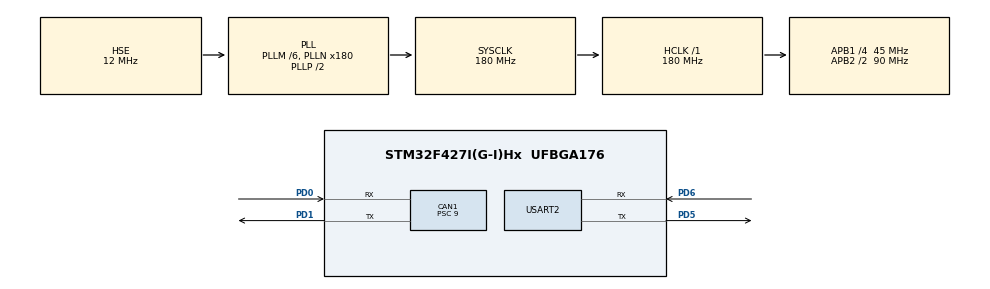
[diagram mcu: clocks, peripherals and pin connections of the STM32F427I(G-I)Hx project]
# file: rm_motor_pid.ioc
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CAN1.BS1=CAN_BS1_2TQ
CAN1.BS2=CAN_BS2_2TQ
CAN1.CalculateBaudRate=1000000
CAN1.CalculateTimeBit=1000
CAN1.CalculateTimeQuantum=200.0
CAN1.Prescaler=9
Mcu.Family=STM32F4
Mcu.Name=STM32F427I(G-I)Hx
Mcu.Package=UFBGA176
NVIC.CAN1_RX0_IRQn=true\:0\:0\:false\:false\:true\:true\:true\:true
NVIC.PriorityGroup=NVIC_PRIORITYGROUP_4
PA13.Mode=Serial_Wire
PA13.Signal=SYS_JTMS-SWDIO
PA14.Mode=Serial_Wire
PA14.Signal=SYS_JTCK-SWCLK
PD0.Mode=CAN_Activate
PD0.Signal=CAN1_RX
PD1.Mode=CAN_Activate
PD1.Signal=CAN1_TX
PD5.Mode=Asynchronous
PD5.Signal=USART2_TX
PD6.Mode=Asynchronous
PD6.Signal=USART2_RX
PH0/OSC_IN.Mode=HSE-External-Oscillator
PH0/OSC_IN.Signal=RCC_OSC_IN
PH1/OSC_OUT.Mode=HSE-External-Oscillator
PH1/OSC_OUT.Signal=RCC_OSC_OUT
ProjectManager.HeapSize=0x200
ProjectManager.StackSize=0x400
ProjectManager.TargetToolchain=MDK-ARM V5.32
RCC.48MHZClocksFreq_Value=90000000
RCC.AHBFreq_Value=180000000
RCC.APB1CLKDivider=RCC_HCLK_DIV4
RCC.APB1Freq_Value=45000000
RCC.APB1TimFreq_Value=90000000
RCC.APB2CLKDivider=RCC_HCLK_DIV2
RCC.APB2Freq_Value=90000000
RCC.APB2TimFreq_Value=180000000
RCC.CortexFreq_Value=180000000
RCC.HCLKFreq_Value=180000000
RCC.HSE_VALUE=12000000
RCC.HSI_VALUE=16000000
RCC.LSE_VALUE=32768
RCC.PLLM=6
RCC.PLLN=180
RCC.PLLSourceVirtual=RCC_PLLSOURCE_HSE
RCC.SYSCLKFreq_VALUE=180000000
RCC.SYSCLKSource=RCC_SYSCLKSOURCE_PLLCLK
RCC.VCOOutputFreq_Value=360000000
USART2.VirtualMode=VM_ASYNC
board=custom

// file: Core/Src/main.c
/* USER CODE BEGIN Header */
/**
  ******************************************************************************
  * @file           : main.c
  * @brief          : Main program body
  ******************************************************************************
  * @attention
  *
  * Copyright (c) 2026 STMicroelectronics.
  * All rights reserved.
  *
  * This software is licensed under terms that can be found in the LICENSE file
  * in the root directory of this software component.
  * If no LICENSE file comes with this software, it is provided AS-IS.
  *
  ******************************************************************************
  */
/* USER CODE END Header */
#include "main.h"
#include "can.h"
#include "usart.h"
#include "gpio.h"

/* USER CODE BEGIN Includes */
#include "bsp_can.h"
#include "pid.h"
#include "stdio.h"
/* USER CODE END Includes */

/* USER CODE BEGIN PM */
#define DJI_MOTOR_MAX_ECD 8192.0f
#define get_motor_measure(ptr, data)                                    \
    {                                                                   \
        (ptr)->last_ecd = (ptr)->ecd;                                   \
        (ptr)->ecd = (uint16_t)((data)[0] << 8 | (data)[1]);            \
        (ptr)->speed_rpm = (uint16_t)((data)[2] << 8 | (data)[3]);      \
        (ptr)->given_current = (uint16_t)((data)[4] << 8 | (data)[5]);  \
        (ptr)->temperate = (data)[6];                                   \
    }
/* USER CODE END PM */

/* USER CODE BEGIN PV */
float speed_out;
float pos_out;
//float targtr_motor_speed = 100;
float targtr_motor_pos = 4000;
/* USER CODE END PV */

void SystemClock_Config(void);

/* USER CODE BEGIN 0 */
float Get_DJI_Encoder_Err(float des, float now) //得到带编码器环绕处理的误差
{
	float Target = des;
	float current = now;
	float clockwise  = (Target >= current) ? (Target - current) : (DJI_MOTOR_MAX_ECD - current + Target);      //顺时针需要旋转的编码器值
	float counterclockwise= (current >= Target) ? (current - Target) : (DJI_MOTOR_MAX_ECD  - Target + current);//逆时针需要旋转的编码器值

	return (clockwise < counterclockwise) ? clockwise : -counterclockwise; //取最小值
}

void HAL_CAN_RxFifo0MsgPendingCallback(CAN_HandleTypeDef *hcan)
{
    CAN_RxHeaderTypeDef rx_header;
    uint8_t rx_data[8];

    HAL_CAN_GetRxMessage(hcan, CAN_RX_FIFO0, &rx_header, rx_data);
	uint8_t i =1;
	get_motor_measure(&motor_chassis[i], rx_data);

}

int fputc(int ch, FILE *f)

{

  HAL_UART_Transmit(&huart2, (uint8_t *)&ch, 1, 0xffff);

  return ch;

}
float a = 4000;
/* USER CODE END 0 */

int main(void)
{

  /* MCU Configuration--------------------------------------------------------*/

  /* Reset of all peripherals, Initializes the Flash interface and the Systick. */
  HAL_Init();

  /* Configure the system clock */
  SystemClock_Config();

	/* Initialize all configured peripherals */
	MX_GPIO_Init();
	MX_CAN1_Init();
	MX_USART2_UART_Init();
	/* USER CODE BEGIN 2 */
	can_filter_init();

	HAL_UART_Init(&huart2);

    PID_Init(&motor_speed,36.3,40.8,1.5,-5000,5000,-20000,20000);
     PID_Init(&motor_pos,0.5,0,0,-500,500,-10000,10000);
//     float target_position = 0;  // 目标角度
//	 float pos = motor_chassis[1].ecd/8192*360;
//	 float vel = motor_chassis[1].speed_rpm;

		 /* USER CODE END 2 */

  /* Infinite loop */
  /* USER CODE BEGIN WHILE */
  while (1)
{
	float pos_error = Get_DJI_Encoder_Err(targtr_motor_pos,motor_chassis[1].ecd);
	pos_out = -PID_Calculate(&motor_pos,0,pos_error);
//	pos_out = PID_Calculate(&motor_pos,a,motor_chassis[1].ecd);
	speed_out = PID_Calculate(&motor_speed,pos_out,motor_chassis[1].speed_rpm);
//	float speed = motor_chassis[1].speed_rpm;
	CAN_Send_Data(&hcan1,speed_out);
//	printf("%f,%f\n",speed,(float)targtr_motor_pos);
//		pos_out = PID_Calculate(&motor_pos,a,motor_chassis[1].ecd);
//	speed_out = PID_Calculate(&motor_speed,pos_out,motor_chassis[1].speed_rpm);
	HAL_Delay(2);
    /* USER CODE END WHILE */

  }
}

void SystemClock_Config(void)
{
  RCC_OscInitTypeDef RCC_OscInitStruct = {0};
  RCC_ClkInitTypeDef RCC_ClkInitStruct = {0};

  /** Configure the main internal regulator output voltage
  */
  __HAL_RCC_PWR_CLK_ENABLE();
  __HAL_PWR_VOLTAGESCALING_CONFIG(PWR_REGULATOR_VOLTAGE_SCALE1);

  /** Initializes the RCC Oscillators according to the specified parameters
  * in the RCC_OscInitTypeDef structure.
  */
  RCC_OscInitStruct.OscillatorType = RCC_OSCILLATORTYPE_HSE;
  RCC_OscInitStruct.HSEState = RCC_HSE_ON;
  RCC_OscInitStruct.PLL.PLLState = RCC_PLL_ON;
  RCC_OscInitStruct.PLL.PLLSource = RCC_PLLSOURCE_HSE;
  RCC_OscInitStruct.PLL.PLLM = 6;
  RCC_OscInitStruct.PLL.PLLN = 180;
  RCC_OscInitStruct.PLL.PLLP = RCC_PLLP_DIV2;
  RCC_OscInitStruct.PLL.PLLQ = 4;
  if (HAL_RCC_OscConfig(&RCC_OscInitStruct) != HAL_OK)
  {
    Error_Handler();
  }

  /** Activate the Over-Drive mode
  */
  if (HAL_PWREx_EnableOverDrive() != HAL_OK)
  {
    Error_Handler();
  }

  /** Initializes the CPU, AHB and APB buses clocks
  */
  RCC_ClkInitStruct.ClockType = RCC_CLOCKTYPE_HCLK|RCC_CLOCKTYPE_SYSCLK
                              |RCC_CLOCKTYPE_PCLK1|RCC_CLOCKTYPE_PCLK2;
  RCC_ClkInitStruct.SYSCLKSource = RCC_SYSCLKSOURCE_PLLCLK;
  RCC_ClkInitStruct.AHBCLKDivider = RCC_SYSCLK_DIV1;
  RCC_ClkInitStruct.APB1CLKDivider = RCC_HCLK_DIV4;
  RCC_ClkInitStruct.APB2CLKDivider = RCC_HCLK_DIV2;

  if (HAL_RCC_ClockConfig(&RCC_ClkInitStruct, FLASH_LATENCY_5) != HAL_OK)
  {
    Error_Handler();
  }
}

void Error_Handler(void)
{
  __disable_irq();
  while (1)
  {
  }
}
